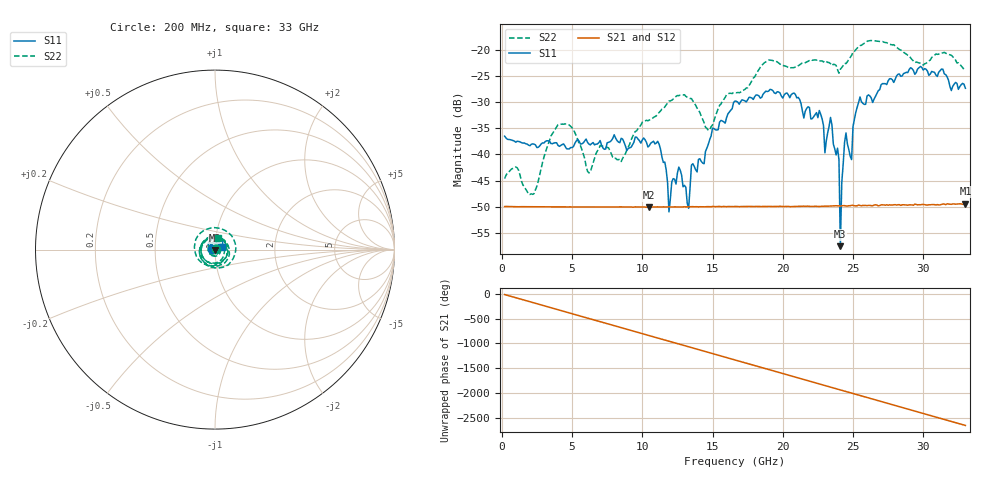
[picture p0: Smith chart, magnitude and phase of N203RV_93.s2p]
# GHZ S RI R 50
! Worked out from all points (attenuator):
!   329 points, 200 MHz to 33 GHz, reference 50 ohm
!   highest |S21| = -49.40 dB at 33 GHz (marker M1); lowest = -50.1 dB at 10.5 GHz (marker M2)
!   lowest |S11| = -57.6 dB at 24.1 GHz (marker M3), VSWR 1.00, Z = 50 - j0.132 ohm
!   |S11| at or under -10 dB: start of sweep to end of sweep
!   |S22| runs from -47.7 to -18.2 dB; largest |S21 - S12| = 7.2e-05
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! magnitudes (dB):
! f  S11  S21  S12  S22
! 200 MHz  -36.5  -50.0  -49.9  -44.6
! 2.3 GHz  -38.0  -50.0  -50.0  -47.5
! 4 GHz  -38.3  -50.0  -50.0  -34.3
! 5.7 GHz  -38.0  -50.0  -50.0  -39.1
! 10.5 GHz  -38.3  -50.1  -50.1  -33.4
! 11.2 GHz  -38.0  -50.0  -50.0  -32.0
! 11.9 GHz  -51.0  -50.0  -50.0  -29.8
! 12.6 GHz  -42.4  -50.1  -50.0  -28.7
! 13.3 GHz  -50.3  -50.0  -50.0  -29.2
! 13.5 GHz  -42.0  -50.0  -50.0  -29.3
! 14.7 GHz  -38.0  -50.0  -50.0  -35.4
! 16.6 GHz  -29.8  -50.0  -50.0  -28.1
! 22.1 GHz  -33.2  -49.9  -49.9  -22.0
! 23.9 GHz  -38.8  -49.8  -49.8  -23.8
! 24 GHz  -41.0  -49.8  -49.9  -24.4
! 24.1 GHz  -57.6  -49.9  -49.8  -23.7
! 24.2 GHz  -45.4  -49.8  -49.8  -23.3
! 24.5 GHz  -35.9  -49.9  -49.8  -22.6
! 24.9 GHz  -41.0  -49.7  -49.8  -21.0
! 25.5 GHz  -29.0  -49.8  -49.8  -19.2
! 27.6 GHz  -25.5  -49.6  -49.7  -18.9
! 33 GHz  -27.3  -49.4  -49.4  -23.8
